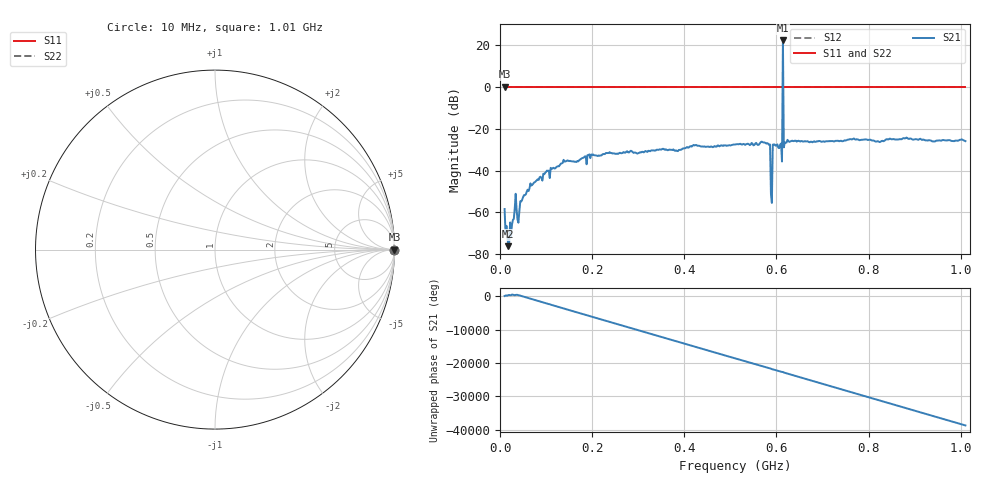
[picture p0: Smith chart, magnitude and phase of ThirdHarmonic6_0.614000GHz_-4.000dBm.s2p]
! 8/15/2025 8:08:07 PM
! C:\ANRITSUVNA\TEMP\TEMP.S2P
! CHANNEL.1
! TR.MEASUREMENT
! RAW.DATA
! RF.CORRECTION.OFF
! AVERAGING.OFF
! IF.BANDWIDTH: 5KHZ
! SWEEPTYPE:  FREQ.SWEEP(Linear)
! Reference Plane Port Info
! PORT:  PORT1  PORT2
! DISTANCE:  0  m  0  m
! TIME:  0  s  0  s
! PHASE.OFFSET:  0  deg.  0  deg.
! LOSS:  0  dB  0  dB
! REF.LOSS:  0  dB  0  dB
! REF.FREQ:  0  Hz  0  Hz
! Power Info
! POWER:  -20  dBm  -20  dBm
! EFF.POWER:  -20  dBm  -20  dBm
! SOURCE.ATTEN:  0  dB  0  dB
! TEST.ATTEN:  0  dB  0  dB
# GHZ S RI R 50.0
! FREQ.GHZ  S11RE  S11IM  S21RE  S21IM  S12RE  S12IM  S22RE  S22IM
!; PortSelection: Port_12
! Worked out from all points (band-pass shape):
!   501 points, 10 MHz to 1.01 GHz, reference 50 ohm
!   highest |S21| = 22.14 dB at 614 MHz (marker M1); lowest = -76.1 dB at 18 MHz (marker M2)
!   |S21| within 3 dB of the highest: 613.8963 MHz to 614.1175 MHz (221.2 kHz wide, 0.036 % of centre)
!   lowest |S11| = 0.0 dB at 10 MHz (marker M3)
!   |S11| at or under -10 dB: nowhere
!   |S22| runs from 0.0 to 0.0 dB; largest |S21 - S12| = 12
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0.01  1 0  -0.000687 0.000987  1 0  1 0
0.018  1 0  0.000143 6.22e-05  1 0  1 0
0.022  1 0  0.000573 -3.08e-05  1 0  1 0
0.032  1 0  0.00122 -0.000167  1 0  1 0
0.04  1 0  0.000556 0.000113  1 0  1 0
0.07  1 0  -0.00124 -0.00436  1 0  1 0
0.178  1 0  -0.0194 -0.00372  1 0  1 0
0.344  1 0  0.0299 -0.00873  1 0  1 0
0.51  1 0  -0.0374 0.0184  1 0  1 0
0.582  1 0  -0.03 0.0321  1 0  1 0
0.586  1 0  0.0386 -0.0159  1 0  1 0
0.588  1 0  0.00108 -0.00255  1 0  1 0
0.592  1 0  -0.00656 0.041  1 0  1 0
0.596  1 0  0.0179 -0.038  1 0  1 0
0.608  1 0  -0.0417 -0.00212  1 0  1 0
0.61  1 0  -0.0071 0.0436  1 0  1 0
0.614  1 0  9.562 8.495  1 0  1 0
0.618  1 0  -0.0344 0.0318  1 0  1 0
0.62  1 0  0.0256 0.0385  1 0  1 0
0.678  1 0  -0.0266 -0.0391  1 0  1 0
0.844  1 0  0.045 0.0334  1 0  1 0
1.01  1 0  -0.0501 -0.00432  1 0  1 0
